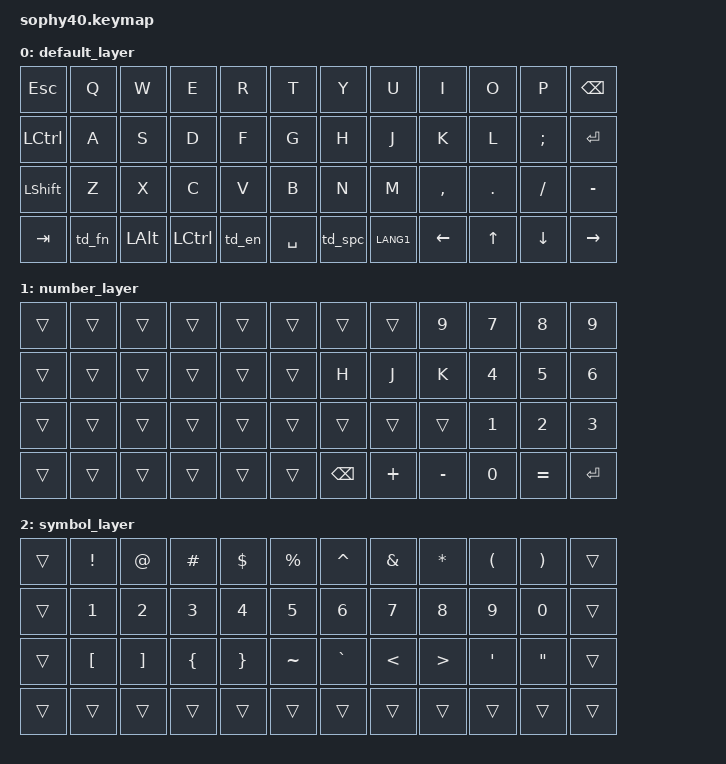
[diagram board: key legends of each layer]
/*
 * Copyright (c) 2020 The ZMK Contributors
 *
 * SPDX-License-Identifier: MIT
 */

#include <behaviors.dtsi>
#include <dt-bindings/zmk/keys.h>
#include <dt-bindings/zmk/bt.h>

/ {
        behaviors {
                td_en: tap_dance_en {
                        compatible = "zmk,behavior-tap-dance";
                        #binding-cells = <0>;
                        tapping-term-ms = <400>;
                        bindings = <&kp LANG2>, <&tog 1>;
                };
                
                td_spc: tap_dance_spc {
                        compatible = "zmk,behavior-tap-dance";
                        #binding-cells = <0>;
                        tapping-term-ms = <400>;
                        bindings = <&kp SPACE>, <&tog 1>;
                };
                
                td_fn: tap_dance_fn {
                        compatible = "zmk,behavior-tap-dance";
                        #binding-cells = <0>;
                        tapping-term-ms = <400>;
                        bindings = <&none>, <&tog 2>;
                };
        };



        keymap {
                compatible = "zmk,keymap";

                default_layer {
// -----------------------------------------------------------------------------------------
// | ESC  |  Q  |  W  |  E  |  R  |  T  |   |  Y  |  U  |  I  |  O  |  P  | BSPC |
// | CTRL |  A  |  S  |  D  |  F  |  G  |   |  H  |  J  |  K  |  L  |  ;  | ENT  |
// | SHFT |  Z  |  X  |  C  |  V  |  B  |   |  N  |  M  |  ,  |  .  |  /  |  -   |
//                    | TAB | Fn/SYM | ALT | CTRL| EN/NUM | SPC |   | SPC/NUM | JP | ← | ↑ | ↓ | → |
                        bindings = <
   &kp ESC   &kp Q &kp W &kp E &kp R &kp T      &kp Y     &kp U  &kp I     &kp O   &kp P    &kp BSPC
   &kp LCTRL &kp A &kp S &kp D &kp F &kp G      &kp H     &kp J  &kp K     &kp L   &kp SEMI &kp RET
   &kp LSHFT &kp Z &kp X &kp C &kp V &kp B      &kp N     &kp M  &kp COMMA &kp DOT &kp FSLH &kp MINUS
                  &kp TAB &td_fn &kp LALT &kp LCTRL &td_en &kp SPACE      &td_spc &kp LANG1 &kp LEFT &kp UP &kp DOWN &kp RIGHT
                        >;
                };

                number_layer {
// -----------------------------------------------------------------------------------------
// |      |     |     |     |     |     |   |     |     |  9  |  7  |  8  |  9   |
// |      |     |     |     |     |     |   |  H  |  J  |  K  |  4  |  5  |  6   |
// |      |     |     |     |     |     |   |     |     |     |  1  |  2  |  3   |
//                    |     |     |     |     |     |     |   | BSPC|  +  |  -  |  0  | = | ENT |
                        bindings = <
   &trans    &trans &trans &trans &trans &trans    &trans    &trans &kp N9    &kp N7   &kp N8   &kp N9
   &trans    &trans &trans &trans &trans &trans    &kp H     &kp J  &kp K     &kp N4   &kp N5   &kp N6
   &trans    &trans &trans &trans &trans &trans    &trans    &trans &trans    &kp N1   &kp N2   &kp N3
                  &trans &trans &trans &trans &trans &trans      &kp BSPC &kp PLUS &kp MINUS &kp N0 &kp EQUAL &kp RET
                        >;
                };

                symbol_layer {
// -----------------------------------------------------------------------------------------
// |      |  !  |  @  |  #  |  $  |  %  |   |  ^  |  &  |  *  |  (  |  )  |      |
// |      |  1  |  2  |  3  |  4  |  5  |   |  6  |  7  |  8  |  9  |  0  |      |
// |      |  [  |  ]  |  {  |  }  |  ~  |   |  `  |  <  |  >  |  '  |  "  |      |
//                    |     |     |     |     |     |     |   |     |     |     |     |     |     |
                        bindings = <
   &trans    &kp EXCL &kp AT &kp HASH &kp DLLR &kp PRCNT    &kp CARET &kp AMPS &kp ASTRK &kp LPAR &kp RPAR &trans
   &trans    &kp N1 &kp N2 &kp N3 &kp N4 &kp N5    &kp N6    &kp N7 &kp N8    &kp N9   &kp N0   &trans
   &trans    &kp LBKT &kp RBKT &kp LBRC &kp RBRC &kp TILDE    &kp GRAVE &kp LT &kp GT    &kp SQT   &kp DQT   &trans
                  &trans &trans &trans &trans &trans &trans      &trans &trans &trans &trans &trans &trans
                        >;
                };

        };
};
